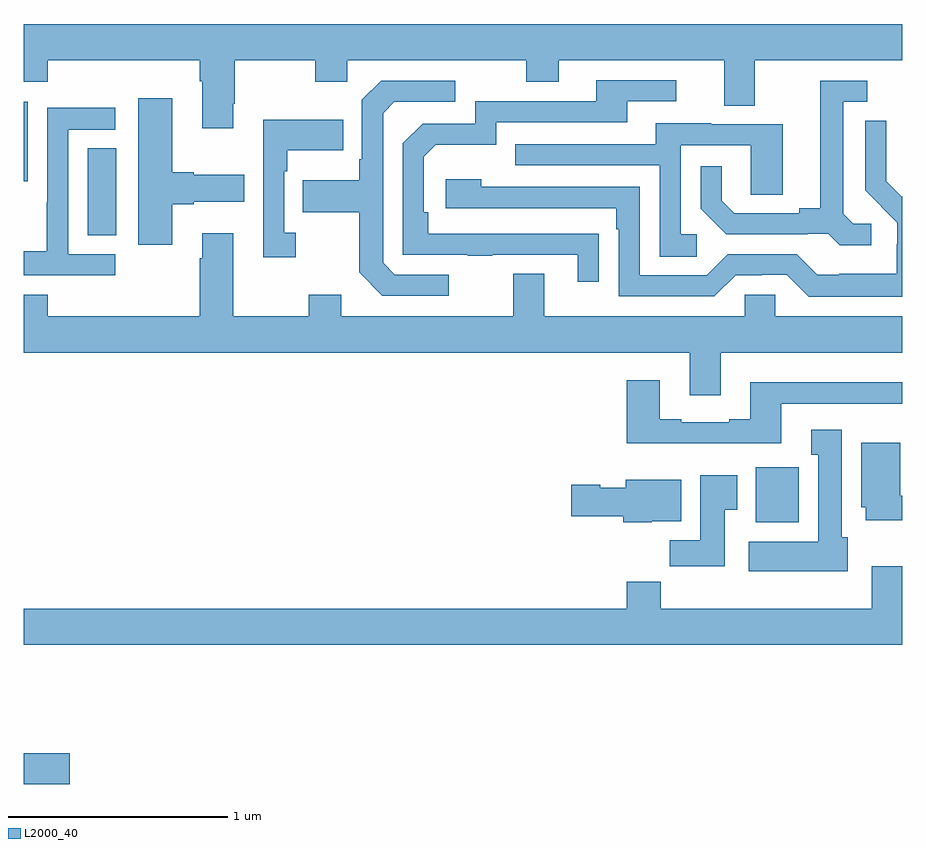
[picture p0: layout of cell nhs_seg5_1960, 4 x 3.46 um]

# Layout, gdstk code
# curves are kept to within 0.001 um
import gdstk
lib = gdstk.Library(unit=1e-6, precision=1e-09)
def R(c, l, rs):  # rectangles x0, y0, x1, y1
    for r in rs: c.add(gdstk.rectangle(r[:2], r[2:], *l))
def P(c, l, *ps):  # polygons
    for p in ps: c.add(gdstk.Polygon(p, *l))
L2000_40 = (2000, 40)

nhs_seg5_1960 = lib.new_cell('nhs_seg5_1960')
R(nhs_seg5_1960, L2000_40, [(227,850.799,227.209,850.94), (230.333,851.99,230.529,852.241), (227.291,853.297,227.422,853.694), (227,853.545,227.017,853.906)])
P(nhs_seg5_1960, L2000_40, [(227.953,853.897),(227.961,853.897),(227.961,854.096),(228.328,854.096),(228.328,853.997),(228.474,853.997),(228.474,854.096),(229.288,854.096),(229.288,853.997),(229.435,853.997),(229.435,854.096),(230.189,854.096),(230.189,853.888),(230.329,853.888),(230.329,854.096),(231,854.096),(231,854.26),(227,854.26),(227,853.997),(227.108,853.997),(227.108,854.096),(227.801,854.096),(227.801,854),(227.813,854),(227.813,853.785),(227.953,853.785)],
  [(229.619,853.304),(228.842,853.305),(228.842,853.402),(228.822,853.402),(228.822,853.656),(228.875,853.709),(229.152,853.709),(229.152,853.812),(229.747,853.812),(229.747,853.908),(229.972,853.908),(229.972,854.004),(229.607,854.004),(229.607,853.908),(229.056,853.908),(229.056,853.806),(228.816,853.806),(228.726,853.716),(228.726,853.209),(229.021,853.209),(229.021,853.204),(229.133,853.204),(229.133,853.209),(229.523,853.209),(229.523,853.086),(229.619,853.086)],
  [(230.86,853.35),(230.778,853.35),(230.731,853.397),(230.731,853.905),(230.842,853.905),(230.842,854.001),(230.627,854.001),(230.627,853.421),(230.531,853.421),(230.531,853.398),(230.236,853.398),(230.179,853.455),(230.179,853.612),(230.082,853.612),(230.082,853.418),(230.198,853.302),(230.57,853.302),(230.57,853.305),(230.664,853.305),(230.716,853.253),(230.86,853.253)],
  [(228.934,853.119),(228.69,853.119),(228.636,853.173),(228.636,853.854),(228.687,853.905),(228.964,853.905),(228.964,854.001),(228.627,854.001),(228.54,853.914),(228.54,853.645),(228.528,853.645),(228.528,853.549),(228.271,853.549),(228.271,853.402),(228.528,853.402),(228.528,853.129),(228.633,853.023),(228.934,853.023)],
  [(227.677,853.439),(227.773,853.439),(227.773,853.451),(228.004,853.451),(228.004,853.573),(227.773,853.573),(227.773,853.586),(227.677,853.586),(227.677,853.921),(227.522,853.921),(227.522,853.254),(227.677,853.254)],
  [(227.416,853.212),(227.202,853.212),(227.202,853.779),(227.416,853.779),(227.416,853.878),(227.106,853.878),(227.106,853.448),(227.104,853.448),(227.104,853.225),(227,853.225),(227,853.116),(227.416,853.116)],
  [(228.238,853.31),(228.186,853.31),(228.186,853.589),(228.199,853.589),(228.199,853.685),(228.455,853.685),(228.455,853.825),(228.09,853.825),(228.09,853.197),(228.238,853.197)],
  [(231,853.476),(230.997,853.473),(230.927,853.544),(230.928,853.82),(230.832,853.82),(230.832,853.502),(230.978,853.354),(230.978,853.257),(230.976,853.257),(230.976,853.123),(230.713,853.123),(230.713,853.119),(230.613,853.119),(230.52,853.212),(230.205,853.212),(230.109,853.116),(229.806,853.116),(229.806,853.518),(229.082,853.518),(229.082,853.552),(228.921,853.552),(228.921,853.422),(229.697,853.422),(229.697,853.325),(229.71,853.325),(229.71,853.02),(230.145,853.02),(230.241,853.116),(230.36,853.116),(230.36,853.119),(230.475,853.119),(230.575,853.019),(231,853.019)],
  [(230.065,853.302),(229.992,853.302),(229.992,853.707),(230.31,853.707),(230.31,853.483),(230.455,853.483),(230.455,853.803),(230.131,853.803),(230.131,853.807),(229.877,853.807),(229.877,853.713),(229.237,853.713),(229.237,853.617),(229.896,853.617),(229.896,853.201),(230.065,853.201)],
  [(230.033,852.57),(230.173,852.57),(230.173,852.764),(231,852.764),(231,852.928),(230.421,852.928),(230.421,853.026),(230.283,853.026),(230.283,852.928),(229.369,852.928),(229.369,853.123),(229.229,853.123),(229.229,852.928),(228.445,852.928),(228.445,853.027),(228.298,853.027),(228.298,852.928),(227.953,852.928),(227.953,853.306),(227.813,853.306),(227.813,853.193),(227.801,853.193),(227.801,852.928),(227.108,852.928),(227.108,853.027),(227,853.027),(227,852.764),(230.033,852.764)],
  [(230.449,852.531),(231,852.531),(231,852.628),(230.309,852.628),(230.309,852.46),(230.213,852.46),(230.213,852.447),(229.993,852.447),(229.993,852.46),(229.897,852.46),(229.897,852.637),(229.745,852.637),(229.745,852.35),(230.449,852.35)],
  [(230.752,851.922),(230.725,851.922),(230.725,852.412),(230.585,852.412),(230.585,852.299),(230.618,852.299),(230.618,851.902),(230.301,851.902),(230.301,851.768),(230.752,851.768)],
  [(231,852.112),(230.992,852.112),(230.992,852.352),(230.813,852.352),(230.813,852.06),(230.834,852.06),(230.834,852),(231,852)],
  [(230.191,852.049),(230.248,852.049),(230.248,852.205),(230.081,852.205),(230.081,851.908),(229.942,851.908),(229.942,851.79),(230.191,851.79)],
  [(229.86,851.996),(229.993,851.996),(229.993,852.184),(229.742,852.184),(229.742,852.148),(229.626,852.148),(229.626,852.161),(229.494,852.161),(229.494,852.019),(229.73,852.019),(229.73,851.99),(229.86,851.99)],
  [(231,851.791),(230.861,851.791),(230.861,851.596),(229.901,851.596),(229.901,851.72),(229.745,851.72),(229.745,851.596),(227,851.596),(227,851.432),(231,851.432)])

lib.write_gds('nhs_seg5_1960.gds')
